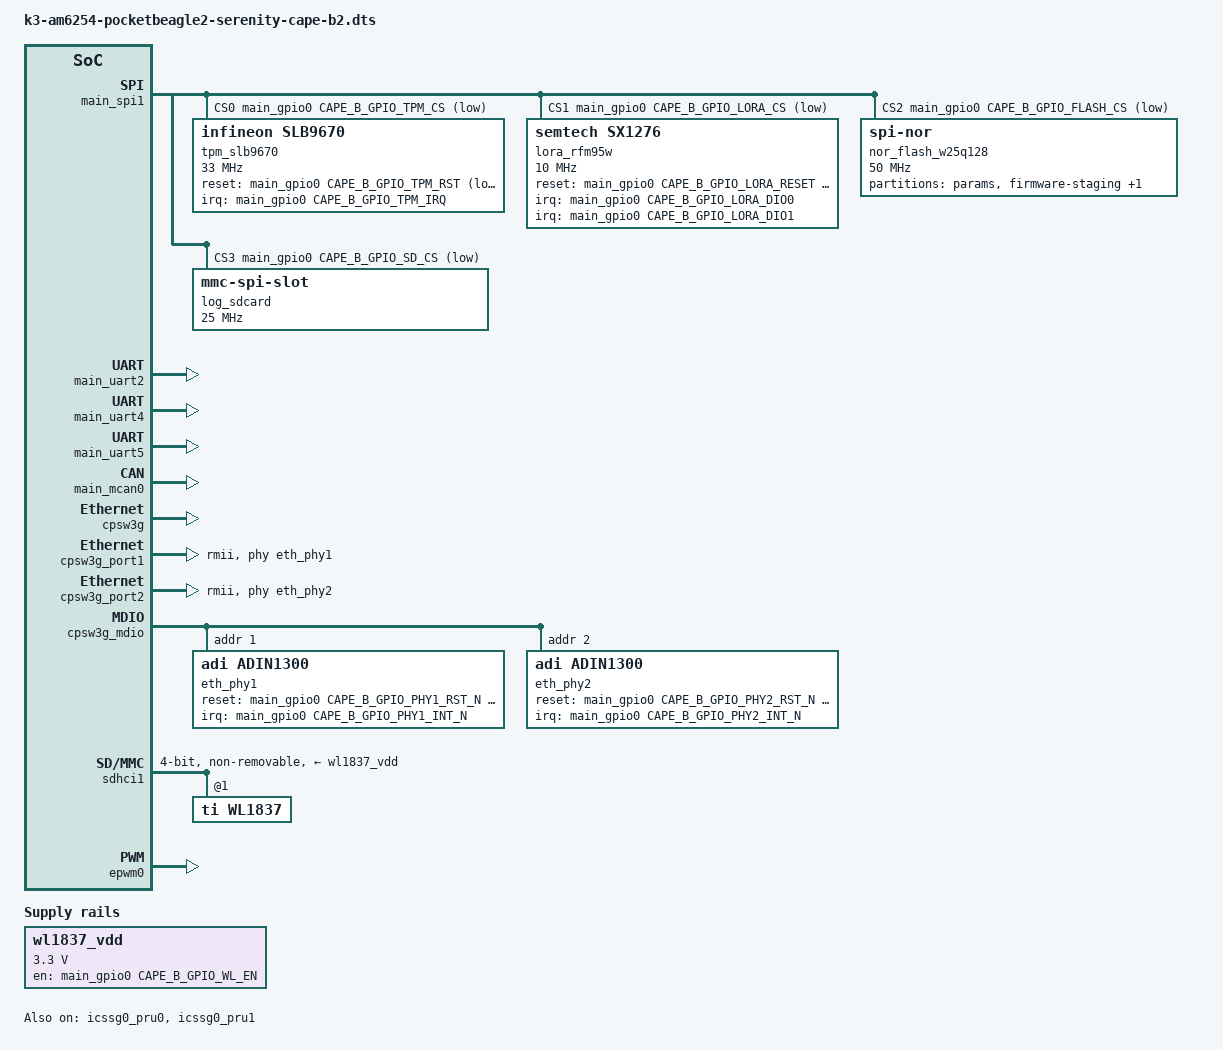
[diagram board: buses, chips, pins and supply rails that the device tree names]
// SPDX-License-Identifier: CC-BY-4.0
/*
 * k3-am6254-pocketbeagle2-serenity-cape-b2.dts
 * Device tree overlay — Serenity UAV Cape-B-2 (EMI-hardened Comms, Logging & Payload)
 *
 * Author:  Steve Griffing, PE(CSE), CISSP-ISSEP, CPP
 * License: CC BY 4.0 — creativecommons.org/licenses/by/4.0
 *
 * Target:
 *   Board  : PocketBeagle 2 Industrial (DigiKey 2820-100003007-ND)
 *   SoC    : TI AM6254 (quad Cortex-A53 @ 1.4 GHz, dual PRU-ICSS)
 *   OS     : BeagleBone Debian Trixie (Linux ≥ 6.1, dtc 1.7.x)
 *   Cape   : Cape-B-2 — EMI-hardened comms + logging + payload cape
 *   Rev    : M-2
 *
 * Build:
 *   dtc -@ -I dts -O dtb \
 *       -o k3-am6254-pocketbeagle2-serenity-cape-b2.dtbo \
 *       k3-am6254-pocketbeagle2-serenity-cape-b2.dts
 *
 * Install:
 *   sudo cp *.dtbo /boot/firmware/overlays/
 *   Add "fdtoverlays /overlays/k3-am6254-pocketbeagle2-serenity-cape-b2.dtbo"
 *   to /boot/firmware/extlinux/extlinux.conf
 *
 * ═══════════════════════════════════════════════════════════════════════════
 * PAD OFFSET VERIFICATION NOTICE
 * ═══════════════════════════════════════════════════════════════════════════
 * AM62X_IOPAD offsets must be cross-checked against BOTH:
 *   (1) TI AM6254 Technical Reference Manual, SPRUJ40, Table 7-1
 *       "MAIN Domain Pad Control Registers"
 *   (2) PocketBeagle 2 Industrial schematic — BeagleBoard.org hardware repo
 *       (maps AM6254 balls to P1/P2 header pins)
 * Offsets tagged [CONFIRMED] are from k3-am625-sk.dtsi, Linux 6.x kernel.
 * Offsets tagged [ESTIMATE] follow the AM62x pad-table pattern and must be
 * verified before committing to PCB fab or first-flight operations.
 * GPIO line numbers (main_gpio0 / main_gpio1) are logical and must be
 * verified against the PocketBeagle 2 expansion header pin map.
 * ═══════════════════════════════════════════════════════════════════════════
 *
 * EMI-hardened -2 variant: ISOW1044BDFMR CAN FD; ADM2795EBRWZ RS-485; ADIN1300BCPZ PHY
 *
 * Cape-B-2 peripheral map:
 *   SPI1      — SLB9670 TPM 2.0, RFM95W LoRa 915 MHz, W25Q128JV NOR flash,
 *               microSD (SPI mode, logging-only non-executable card)
 *   UART2     — RFD900x SiK 915 MHz (hardware CTS/RTS flow control)
 *   UART4     — ADM2795EBRWZ RS-485 half-duplex (DE / RE# GPIOs)
 *   UART5     — XCVR-49MHZ-1 49 MHz AX.25 (SW1-1) OR SBUS RC input (SW1-2)
 *               J_XCVR JST-GH 6P shared connector; SW1 2-position DIP selects mode
 *   MCAN0     — CAN FD 1/8 Mbps via ISOW1044BDFMR (isolated, STB# GPIO)
 *   CPSW3G    — 2× ADIN1300BCPZ 100BASE-TX PHY (isolated via ISO7642FDWRR + Würth 749010012A)
 *   SDIO      — WL1837MOD 5 GHz 802.11ac/b/g/n + BT5 (4-bit MMC)
 *   EHRPWM0   — Cargo servo / gimbal axis (2 channels)
 *   PRU-ICSS0/PRU0 — MIL-STD-1553B Manchester II codec (1 Mbps)
 *   PRU-ICSS0/PRU1 — Cargo servo PWM ch 2-3 + XCVR TDDS timing
 *
 * External comms links on this node:
 *   Link A: AX.25 49 MHz XCVR or SBUS RC input (XCVR-49MHZ-1/J_XCVR, UART5, SW1 DIP)
 *   Link B: SiK MAVLink 915 MHz  (RFD900x, UART2, CTS/RTS)
 *   Link C: LoRa 915 MHz (OOB)   (RFM95W, SPI1, DIO0-DIO3 IRQs)
 *   Link D: 5 GHz 802.11ac       (WL1837MOD, SDIO)
 *
 * All transmitted frames carry a TPM-bound SHA-256 HMAC (SLB9670, SPI1).
 * The ATF16V8BQL CPLD provides hardware-enforced write-protect to the
 * logging microSD and latching logic for latch sensors.
 *
 * References:
 *   [1]  TI AM6254 TRM, SPRUJ40 — pad table, PRU-ICSS, CPSW3G, MCAN
 *   [2]  PocketBeagle 2 Industrial schematic, BeagleBoard.org hardware repo
 *   [3]  AX.25 Link Access Protocol for Amateur Packet Radio v2.2, TAPR/ARRL, July 1998
 *        [REF-PROTO-001 §6.2 I Frame, §6.3 S Frames] — AX.25 framing on 49 MHz link
 *   [4]  47 CFR Part 15 §15.235 — Operation Within the Band 49.82–49.90 MHz
 *        [REF-FCC-003] — field strength ≤ 10,000 µV/m at 3 m (not Part 95 RCRS,
 *        which does not cover 49 MHz — see REFERENCES.md REF-FCC-003, REF-FCC-004)
 *   [5]  47 CFR §15.247, Operation in 902-928 MHz ISM band (LoRa 915 MHz, unlicensed)
 *        [REF-FCC-001 §15.247(a)(1), §15.247(b)(3)(i)] — 30 dBm EIRP limit
 *   [6]  Si5351A/B/C-B Datasheet, Skyworks, Rev 1.4
 *   [7]  Infineon SLB9670 TPM 2.0 Datasheet
 *   [8]  WL1837MOD (TI WL1837) Integration Guide
 *   [9]  MIL-STD-1553B with Notice 2, DoD Interface Standard, 30 Sep 1996
 *        [REF-MIL-001 §4.1 bus characteristics, §4.3 word formats, §4.6 coupling,
 *        Table IV response time 4-12 µs] — 1 Mbps, 78 Ω, Manchester II encoding
 *   [10] ISOW1044BDFMR datasheet, TI SLLSEP5 — isolated CAN FD transceiver
 *        [REF-IEC-001 Cl.5.5.2] / [REF-VDE-001 Cl.4.3, Cl.5.3] — 5 kV RI certification
 *   [11] ADM2795EBRWZ datasheet, Analog Devices — isolated RS-485 transceiver
 *        [REF-IEC-001 Cl.5.5.2] / [REF-VDE-001 Cl.4.3, Cl.5.3] — 5 kV RI certification
 *   [12] ADIN1300BCPZ datasheet, Analog Devices Rev B — 100/1000BASE-T PHY
 *        [REF-IEEE-001 Cl.22 RMII, Cl.24 100BASE-TX] — Ethernet PHY interface
 *   [13] ISO7642FDWRR datasheet, TI SLLSEP2 — 6-channel digital isolator
 *        [REF-IEC-001 Cl.5.5.2] — isolation component in Ethernet barrier
 *   [14] Würth Elektronik 749010012A datasheet — Ethernet transformer 1500 V
 *   [15] PRTR5V0U2X datasheet, Nexperia — TVS for ESD/transient protection
 */

/dts-v1/;
/plugin/;

#include <dt-bindings/gpio/gpio.h>
#include <dt-bindings/interrupt-controller/irq.h>
#include <dt-bindings/pinctrl/k3.h>

/* ───────────────────────────────────────────────────────────────────────────
 * GPIO line assignments on main_gpio0 — VERIFY AGAINST PB2 SCHEMATIC
 * All offsets relative to AM6254 GPIO bank 0 as exposed on P1/P2 headers.
 * Identical to Cape-B-1 GPIO assignments; the EMI-hardened transceivers
 * (ISOW1044BDFMR, ADM2795EBRWZ, ADIN1300BCPZ) present the same electrical
 * interface to the SoC as the v1 components.
 * ─────────────────────────────────────────────────────────────────────────*/

/* SPI1 chip-selects (GPIO-driven; SPI1 nCS lines not used in hardware). */
#define CAPE_B_GPIO_TPM_CS          10  /* SPI1 CS — SLB9670 TPM 2.0        [ESTIMATE] */
#define CAPE_B_GPIO_LORA_CS         11  /* SPI1 CS — RFM95W LoRa            [ESTIMATE] */
#define CAPE_B_GPIO_FLASH_CS        12  /* SPI1 CS — W25Q128JV NOR flash     [ESTIMATE] */
#define CAPE_B_GPIO_SD_CS           13  /* SPI1 CS — logging microSD         [ESTIMATE] */

/* SLB9670 TPM 2.0 control lines. */
#define CAPE_B_GPIO_TPM_IRQ         14  /* SLB9670 interrupt (active-low)    [ESTIMATE] */
#define CAPE_B_GPIO_TPM_RST         15  /* SLB9670 reset (active-low)        [ESTIMATE] */

/* RFM95W LoRa DIO interrupt lines (DIO0 = TX done / RX done). */
#define CAPE_B_GPIO_LORA_DIO0       16  /* RFM95W DIO0 — TX/RX done         [ESTIMATE] */
#define CAPE_B_GPIO_LORA_DIO1       17  /* RFM95W DIO1 — RX timeout / FHSS  [ESTIMATE] */
#define CAPE_B_GPIO_LORA_DIO2       18  /* RFM95W DIO2 — FHSS change        [ESTIMATE] */
#define CAPE_B_GPIO_LORA_DIO3       19  /* RFM95W DIO3 — CAD done           [ESTIMATE] */
#define CAPE_B_GPIO_LORA_RESET      20  /* RFM95W RESET (active-low)         [ESTIMATE] */

/* XCVR-49MHZ-1 49 MHz control lines. */
#define CAPE_B_GPIO_PTT_N           21  /* PTT_N — TX key (active-low)       [ESTIMATE] */
#define CAPE_B_GPIO_TDDS_SYNC       22  /* Si5351A DDS freq sync strobe      [ESTIMATE] */

/* ADM2795EBRWZ RS-485 direction control. */
#define CAPE_B_GPIO_RS485_DE        23  /* Driver enable (active-high)       [ESTIMATE] */
#define CAPE_B_GPIO_RS485_RE_N      24  /* Receiver enable# (active-low)     [ESTIMATE] */

/* ISOW1044BDFMR CAN FD transceiver. */
#define CAPE_B_GPIO_CAN_STB_N       25  /* Standby# (active-low, normal=low) [ESTIMATE] */

/* ADIN1300BCPZ RMII PHY reset and interrupt lines. */
#define CAPE_B_GPIO_PHY1_RST_N      26  /* ADIN1300BCPZ #1 reset (active-low)[ESTIMATE] */
#define CAPE_B_GPIO_PHY1_INT_N      27  /* ADIN1300BCPZ #1 interrupt         [ESTIMATE] */
#define CAPE_B_GPIO_PHY2_RST_N      28  /* ADIN1300BCPZ #2 reset (active-low)[ESTIMATE] */
#define CAPE_B_GPIO_PHY2_INT_N      29  /* ADIN1300BCPZ #2 interrupt         [ESTIMATE] */

/* MIL-STD-1553B DS26LV31/DS26LV32 output-enable lines. */
#define CAPE_B_GPIO_1553_OE1_N      30  /* DS26LV31 output enable 1# (TX)    [ESTIMATE] */
#define CAPE_B_GPIO_1553_OE2_N      31  /* DS26LV32 output enable 2# (RX)    [ESTIMATE] */

/* WL1837MOD WiFi enable. */
#define CAPE_B_GPIO_WL_EN           32  /* WL1837MOD WL_EN (active-high)     [ESTIMATE] */

/* DRV8833 dual H-bridge (cargo mechanism / latch actuator). */
#define CAPE_B_GPIO_DRV_AIN1        33  /* DRV8833 AIN1                      [ESTIMATE] */
#define CAPE_B_GPIO_DRV_AIN2        34  /* DRV8833 AIN2                      [ESTIMATE] */
#define CAPE_B_GPIO_DRV_BIN1        35  /* DRV8833 BIN1                      [ESTIMATE] */
#define CAPE_B_GPIO_DRV_BIN2        36  /* DRV8833 BIN2                      [ESTIMATE] */
#define CAPE_B_GPIO_DRV_STBY        37  /* DRV8833 STBY (active-high)        [ESTIMATE] */
#define CAPE_B_GPIO_DRV_FAULT_N     38  /* DRV8833 /FAULT (active-low)       [ESTIMATE] */

/* HX711 24-bit ADC (cargo load cell). */
#define CAPE_B_GPIO_HX711_DOUT      39  /* HX711 DOUT (serial data out)      [ESTIMATE] */
#define CAPE_B_GPIO_HX711_SCK       40  /* HX711 PD_SCK (clock / power-down) [ESTIMATE] */

/* ATF16V8BQL CPLD (write-protect logic + latch control). */
#define CAPE_B_GPIO_CPLD_I1         41  /* CPLD input 1                      [ESTIMATE] */
#define CAPE_B_GPIO_CPLD_I2         42  /* CPLD input 2                      [ESTIMATE] */
#define CAPE_B_GPIO_CPLD_I3         43  /* CPLD input 3                      [ESTIMATE] */
#define CAPE_B_GPIO_CPLD_I4         44  /* CPLD input 4                      [ESTIMATE] */
#define CAPE_B_GPIO_CPLD_I5         45  /* CPLD input 5                      [ESTIMATE] */
#define CAPE_B_GPIO_CPLD_I6         46  /* CPLD input 6                      [ESTIMATE] */
#define CAPE_B_GPIO_CPLD_O1         47  /* CPLD output 1 (read-only from SoC)[ESTIMATE] */
#define CAPE_B_GPIO_CPLD_O2         48  /* CPLD output 2 (read-only from SoC)[ESTIMATE] */
#define CAPE_B_GPIO_CPLD_O3         49  /* CPLD output 3                     [ESTIMATE] */
#define CAPE_B_GPIO_CPLD_O4         50  /* CPLD output 4                     [ESTIMATE] */
#define CAPE_B_GPIO_CPLD_OE_N       51  /* CPLD /OE (output enable)          [ESTIMATE] */

/* Mechanical latch / payload bay position sensors. */
#define CAPE_B_GPIO_LATCH_STATUS1   52  /* Latch 1 closed sensor             [ESTIMATE] */
#define CAPE_B_GPIO_LATCH_STATUS2   53  /* Latch 2 closed sensor             [ESTIMATE] */

/* Cape-B-2: No additional GPIO defines vs v1.
 * ISOW1044BDFMR CAN FD: same STB# GPIO as ATA6561.
 * ADM2795EBRWZ RS-485: same DE/RE# GPIOs as MAX3485E.
 * ADIN1300BCPZ PHY: same RST#/INT# GPIOs as DP83825I.
 * PRTR5V0U2X TVS on XCVR_RX_RAW: passive, no GPIO needed.                  */

/* ───────────────────────────────────────────────────────────────────────────
 * Section 1 — Pin control configurations
 * ─────────────────────────────────────────────────────────────────────────*/
&main_pmx0 {

    /* SPI1: SLB9670 TPM, RFM95W LoRa, W25Q128JV NOR flash, logging microSD.
     * All four chip-selects are GPIO-controlled for independent sequencing.
     * Only the four-wire bus (CLK, D0/MOSI, D1/MISO) pins appear here.    */
    cape_b_spi1_pins: cape-b-spi1-pins {
        pinctrl-single,pins = <
            /* [ESTIMATE — SPI1 pad area, verify in SPRUJ40 Table 7-1] */
            AM62X_IOPAD(0x01e0, PIN_INPUT,  0) /* SPI1_CLK                   */
            AM62X_IOPAD(0x01e4, PIN_OUTPUT, 0) /* SPI1_D0  (MOSI)            */
            AM62X_IOPAD(0x01e8, PIN_INPUT,  0) /* SPI1_D1  (MISO)            */
        >;
    };

    /* UART2: RFD900x SiK 915 MHz MAVLink telemetry.
     * Full hardware flow control (CTS/RTS) is required by RFD900x at
     * 57600-921600 baud; both flow-control pins must be muxed.             */
    cape_b_uart2_pins: cape-b-uart2-pins {
        pinctrl-single,pins = <
            /* [ESTIMATE — UART2 pad area, mux mode 4 or 5] */
            AM62X_IOPAD(0x0060, PIN_INPUT,  4) /* UART2_RXD                  */
            AM62X_IOPAD(0x0064, PIN_OUTPUT, 4) /* UART2_TXD                  */
            AM62X_IOPAD(0x0068, PIN_INPUT,  4) /* UART2_CTSn                 */
            AM62X_IOPAD(0x006c, PIN_OUTPUT, 4) /* UART2_RTSn                 */
        >;
    };

    /* UART4: RS-485 half-duplex via ADM2795EBRWZ (Cape-B-2 EMI-hardened).
     * Direction toggled by DE / RE# GPIOs or TIOCSRS485 kernel support.   */
    cape_b_uart4_pins: cape-b-uart4-pins {
        pinctrl-single,pins = <
            /* [ESTIMATE — GPMC0_AD area, mux4 — same offsets as Cape-A] */
            AM62X_IOPAD(0x0058, PIN_INPUT,  4) /* UART4_RXD                  */
            AM62X_IOPAD(0x005c, PIN_OUTPUT, 4) /* UART4_TXD                  */
        >;
    };

    /* UART5: J_XCVR shared connector (XCVR-49MHZ-1 AX.25 or SBUS RC input).
     * SW1 DIP selects signal path.  57600 8N1 (XCVR) or 100000 8E2 (SBUS).
     * Cape-B-2 adds D_XCVR_TVS (PRTR5V0U2X) on XCVR_RX_RAW for ESD
     * protection from the 49 MHz antenna feed (passive, no DT node needed). */
    cape_b_uart5_pins: cape-b-uart5-pins {
        pinctrl-single,pins = <
            /* [ESTIMATE — GPMC0_AD area, mux4] */
            AM62X_IOPAD(0x0070, PIN_INPUT,  4) /* UART5_RXD                  */
            AM62X_IOPAD(0x0074, PIN_OUTPUT, 4) /* UART5_TXD                  */
        >;
    };

    /* MCAN0: CAN FD via ISOW1044BDFMR isolated transceiver (Cape-B-2).    */
    cape_b_mcan0_pins: cape-b-mcan0-pins {
        pinctrl-single,pins = <
            /* [CONFIRMED — k3-am625-sk.dtsi] */
            AM62X_IOPAD(0x01d8, PIN_OUTPUT, 0) /* (C15) MCAN0_TX             */
            AM62X_IOPAD(0x01dc, PIN_INPUT,  0) /* (E15) MCAN0_RX             */
        >;
    };

    /* CPSW3G MDIO: shared MDC/MDIO bus for both ADIN1300BCPZ PHYs.        */
    cape_b_mdio_pins: cape-b-mdio-pins {
        pinctrl-single,pins = <
            /* [ESTIMATE — dedicated MDIO pad area] */
            AM62X_IOPAD(0x0160, PIN_OUTPUT,       0) /* MDC                   */
            AM62X_IOPAD(0x0164, PIN_INPUT_PULLUP, 0) /* MDIO                  */
        >;
    };

    /* CPSW3G Port 1 — RMII (ADIN1300BCPZ #1, uplink ring segment).        */
    cape_b_rmii1_pins: cape-b-rmii1-pins {
        pinctrl-single,pins = <
            /* [ESTIMATE — RGMII1 pad area, mux4 for RMII] */
            AM62X_IOPAD(0x0120, PIN_INPUT,  4) /* RMII1_RXD0                 */
            AM62X_IOPAD(0x0124, PIN_INPUT,  4) /* RMII1_RXD1                 */
            AM62X_IOPAD(0x0128, PIN_INPUT,  4) /* RMII1_RX_ER                */
            AM62X_IOPAD(0x012c, PIN_INPUT,  4) /* RMII1_CRS_DV               */
            AM62X_IOPAD(0x0130, PIN_OUTPUT, 4) /* RMII1_TXD0                 */
            AM62X_IOPAD(0x0134, PIN_OUTPUT, 4) /* RMII1_TXD1                 */
            AM62X_IOPAD(0x0138, PIN_OUTPUT, 4) /* RMII1_TX_EN                */
            AM62X_IOPAD(0x013c, PIN_INPUT,  4) /* RMII1_REF_CLK (50 MHz in)  */
        >;
    };

    /* CPSW3G Port 2 — RMII (ADIN1300BCPZ #2, downlink ring segment).      */
    cape_b_rmii2_pins: cape-b-rmii2-pins {
        pinctrl-single,pins = <
            /* [ESTIMATE — RGMII2 pad area, mux4 for RMII] */
            AM62X_IOPAD(0x0148, PIN_INPUT,  4) /* RMII2_RXD0                 */
            AM62X_IOPAD(0x014c, PIN_INPUT,  4) /* RMII2_RXD1                 */
            AM62X_IOPAD(0x0150, PIN_INPUT,  4) /* RMII2_RX_ER                */
            AM62X_IOPAD(0x0154, PIN_INPUT,  4) /* RMII2_CRS_DV               */
            AM62X_IOPAD(0x0158, PIN_OUTPUT, 4) /* RMII2_TXD0                 */
            AM62X_IOPAD(0x015c, PIN_OUTPUT, 4) /* RMII2_TXD1                 */
            AM62X_IOPAD(0x0168, PIN_OUTPUT, 4) /* RMII2_TX_EN                */
            AM62X_IOPAD(0x016c, PIN_INPUT,  4) /* RMII2_REF_CLK              */
        >;
    };

    /* SDIO: WL1837MOD 5 GHz 802.11ac + BT5 in 4-bit MMC mode.
     * WL1837MOD requires 50 MHz SDIO clock and 4 data lines.              */
    cape_b_sdio_pins: cape-b-sdio-pins {
        pinctrl-single,pins = <
            /* [ESTIMATE — MMC1 pad area] */
            AM62X_IOPAD(0x0220, PIN_INPUT_PULLUP, 0) /* MMC1_CLK              */
            AM62X_IOPAD(0x0224, PIN_INPUT_PULLUP, 0) /* MMC1_CMD              */
            AM62X_IOPAD(0x0228, PIN_INPUT_PULLUP, 0) /* MMC1_DAT0             */
            AM62X_IOPAD(0x022c, PIN_INPUT_PULLUP, 0) /* MMC1_DAT1             */
            AM62X_IOPAD(0x0230, PIN_INPUT_PULLUP, 0) /* MMC1_DAT2             */
            AM62X_IOPAD(0x0234, PIN_INPUT_PULLUP, 0) /* MMC1_DAT3             */
        >;
    };

    /* EHRPWM0: cargo servo / gimbal axis channels 0 and 1.               */
    cape_b_ehrpwm0_pins: cape-b-ehrpwm0-pins {
        pinctrl-single,pins = <
            /* [ESTIMATE] */
            AM62X_IOPAD(0x01a0, PIN_OUTPUT, 6) /* EHRPWM0_A (CARGO_SERVO0)   */
            AM62X_IOPAD(0x01a4, PIN_OUTPUT, 6) /* EHRPWM0_B (CARGO_SERVO1)   */
        >;
    };

    /* PRU-ICSS0 PRU0: MIL-STD-1553B Manchester II codec pins.
     * DS26LV31 TX driven by GPO0/GPO1; DS26LV32 RX read on GPI2/GPI3.   */
    cape_b_pru0_1553_pins: cape-b-pru0-1553-pins {
        pinctrl-single,pins = <
            /* [ESTIMATE — PRG0 GPIO pad area] */
            AM62X_IOPAD(0x00d0, PIN_OUTPUT, 5) /* PRG0_PRU0_GPO0 → 1553_TX_P */
            AM62X_IOPAD(0x00d4, PIN_OUTPUT, 5) /* PRG0_PRU0_GPO1 → 1553_TX_N */
            AM62X_IOPAD(0x00d8, PIN_INPUT,  5) /* PRG0_PRU0_GPI2 ← 1553_RX_P */
            AM62X_IOPAD(0x00dc, PIN_INPUT,  5) /* PRG0_PRU0_GPI3 ← 1553_RX_N */
        >;
    };

    /* PRU-ICSS0 PRU1: cargo servo PWM ch 2-3 + XCVR TDDS_SYNC output.   */
    cape_b_pru1_cargo_pins: cape-b-pru1-cargo-pins {
        pinctrl-single,pins = <
            /* [ESTIMATE] */
            AM62X_IOPAD(0x00e0, PIN_OUTPUT, 5) /* PRG0_PRU1_GPO0 → SERVO2    */
            AM62X_IOPAD(0x00e4, PIN_OUTPUT, 5) /* PRG0_PRU1_GPO1 → SERVO3    */
            AM62X_IOPAD(0x00e8, PIN_OUTPUT, 5) /* PRG0_PRU1_GPO2 → TDDS_SYNC */
        >;
    };
};

/* ───────────────────────────────────────────────────────────────────────────
 * Section 2 — SPI1: TPM 2.0, LoRa 915 MHz, NOR flash, logging microSD
 *
 * All four devices share the SPI1 bus at 3.3 V LVTTL.  Individual chip-
 * selects are GPIO-driven to allow per-device power sequencing and to avoid
 * glitching inactive devices during bus transactions.
 * ─────────────────────────────────────────────────────────────────────────*/
&main_spi1 {
    status = "okay";
    pinctrl-names = "default";
    pinctrl-0 = <&cape_b_spi1_pins>;
    cs-gpios = <&main_gpio0 CAPE_B_GPIO_TPM_CS   GPIO_ACTIVE_LOW>,
               <&main_gpio0 CAPE_B_GPIO_LORA_CS  GPIO_ACTIVE_LOW>,
               <&main_gpio0 CAPE_B_GPIO_FLASH_CS GPIO_ACTIVE_LOW>,
               <&main_gpio0 CAPE_B_GPIO_SD_CS    GPIO_ACTIVE_LOW>;
    #address-cells = <1>;
    #size-cells = <0>;

    /* SLB9670 TPM 2.0 — Infineon, SPI mode 0, 33 MHz max.
     * Provides TPM-bound SHA-256 HMAC keys for all outbound radio frames.
     * PCR measurements seeded from U-Boot measured-boot chain.
     * Reference: Infineon SLB9670 datasheet, TPM 2.0 Part 3 commands.    */
    tpm_slb9670: tpm@0 {
        compatible = "infineon,slb9670";
        reg = <0>;                           /* CS index 0 (TPM_CS GPIO)    */
        spi-max-frequency = <33000000>;
        interrupt-parent = <&main_gpio0>;
        interrupts = <CAPE_B_GPIO_TPM_IRQ IRQ_TYPE_LEVEL_LOW>;
        reset-gpios = <&main_gpio0 CAPE_B_GPIO_TPM_RST GPIO_ACTIVE_LOW>;
    };

    /* RFM95W LoRa 915 MHz — Semtech SX1276 core, SPI mode 0, 10 MHz max.
     * Operates in 47 CFR Part 15 Subpart C unlicensed band (902-928 MHz).
     * DIO0-DIO3 provide interrupt-driven TX-done, RX-done, CCA events.
     * Used for out-of-band telemetry and command backup link.             */
    lora_rfm95w: lora@1 {
        compatible = "semtech,sx1276";
        reg = <1>;                           /* CS index 1 (LORA_CS GPIO)   */
        spi-max-frequency = <10000000>;
        reset-gpios = <&main_gpio0 CAPE_B_GPIO_LORA_RESET GPIO_ACTIVE_LOW>;
        /*
         * DIO0 = TX done / RX done (primary IRQ).
         * DIO1 = RX timeout / FHSS channel change.
         * DIO2 = FHSS channel change.
         * DIO3 = CAD (channel activity detection) done.
         * All four interrupts wired; driver selects active ones per mode.
         */
        interrupts-extended =
            <&main_gpio0 CAPE_B_GPIO_LORA_DIO0 IRQ_TYPE_EDGE_RISING>,
            <&main_gpio0 CAPE_B_GPIO_LORA_DIO1 IRQ_TYPE_EDGE_RISING>,
            <&main_gpio0 CAPE_B_GPIO_LORA_DIO2 IRQ_TYPE_EDGE_RISING>,
            <&main_gpio0 CAPE_B_GPIO_LORA_DIO3 IRQ_TYPE_EDGE_RISING>;
        interrupt-names = "dio0", "dio1", "dio2", "dio3";
    };

    /* W25Q128JV NOR Flash — Winbond, 128 Mbit (16 MiB), SPI mode 0.
     * Used for persistent parameter storage and firmware staging.
     * Mapped as MTD partition; write-protected by ATF16V8BQL CPLD WP line.
     * Reference: W25Q128JV datasheet, Winbond, Rev L.                    */
    nor_flash_w25q128: flash@2 {
        compatible = "jedec,spi-nor";
        reg = <2>;                           /* CS index 2 (FLASH_CS GPIO)  */
        spi-max-frequency = <50000000>;
        /* 104 MHz clock supported by W25Q128JV but limited to 50 MHz
         * for noise margin on the Cape-B-2 flex harness.                 */

        partitions {
            compatible = "fixed-partitions";
            #address-cells = <1>;
            #size-cells = <1>;

            /* Bootloader parameters backup: 128 KiB at start of flash.   */
            partition@0 {
                label = "params";
                reg = <0x000000 0x020000>;
            };

            /* Firmware staging area: 8 MiB.                              */
            partition@20000 {
                label = "firmware-staging";
                reg = <0x020000 0x800000>;
            };

            /* Remaining space: key material backup (encrypted by TPM).   */
            partition@820000 {
                label = "key-backup";
                reg = <0x820000 0x7e0000>;
            };
        };
    };

    /* Logging microSD in SPI mode.
     * Hardware write-protect enforced by ATF16V8BQL CPLD — the CPLD
     * asserts the microSD /WP line and prevents the SoC from de-asserting
     * it without the correct CPLD input sequence (anti-tamper logging).
     * Formatted ext4; mounted noexec,nosuid,nodev.                        */
    log_sdcard: spi-mmc@3 {
        compatible = "mmc-spi-slot";
        reg = <3>;                           /* CS index 3 (SD_CS GPIO)     */
        spi-max-frequency = <25000000>;
        voltage-ranges = <3300 3300>;
        /* gpios and other properties set by kernel mmc-spi-slot driver.  */
    };
};

/* ───────────────────────────────────────────────────────────────────────────
 * Section 3 — UARTs
 * ─────────────────────────────────────────────────────────────────────────*/

/* UART2: RFD900x SiK 915 MHz MAVLink telemetry.
 * Hardware flow control (CTS/RTS) is required to prevent packet loss at
 * high data rates (115200-921600 baud).  The serenity-cn daemon opens this
 * port with CRTSCTS set; RFD900x drives RTS low when ready to receive.    */
&main_uart2 {
    status = "okay";
    pinctrl-names = "default";
    pinctrl-0 = <&cape_b_uart2_pins>;
    /* uart-has-rtscts informs the driver that hardware flow control pins
     * are connected.  Flow control is enabled by the daemon at open time. */
    uart-has-rtscts;
};

/* UART4: RS-485 half-duplex via ADM2795EBRWZ (Cape-B-2 EMI-hardened; same
 * electrical interface as MAX3485E on Cape-B-1).  IEC 62368-1 isolation.
 * Direction is toggled by DE and RE# GPIOs (or TIOCSRS485 if supported).  */
&main_uart4 {
    status = "okay";
    pinctrl-names = "default";
    pinctrl-0 = <&cape_b_uart4_pins>;
    linux,rs485-enabled-at-boot-time;
    rs485-rts-active-high;                   /* DE asserted high = TX       */
    rs485-rx-during-tx;
};

/* UART5: XCVR-49MHZ-1 49 MHz AX.25 link (SW1-1) OR SBUS RC input (SW1-2).
 *
 * SW1 is a 2-position DIP switch on Cape-B-2 that shares the J_XCVR JST-GH 6P
 * connector between the external 49 MHz transceiver and an RC SBUS receiver.
 * The switch routes J_XCVR pin 4 (XCVR_RX_RAW) to UART5_RX via one of two paths:
 *
 *   SW1-1 (XCVR mode): XCVR_RX_RAW → 100 Ω R_XCVR_RX → UART5_RX (direct)
 *   SW1-2 (SBUS mode): XCVR_RX_RAW → 74LVC1G14 U_SBUS_B → 100 Ω R_SBUS_RX → UART5_RX
 *
 * Cape-B-2 adds D_XCVR_TVS (PRTR5V0U2X) on XCVR_RX_RAW for ESD/transient
 * protection from the 49 MHz antenna feed (passive, no DT node required).
 *
 * In XCVR mode: 57600 baud 8N1; PTT_N (CAPE_B_GPIO_PTT_N) and TDDS_SYNC
 *   (CAPE_B_GPIO_TDDS_SYNC) are active.  AX.25 / KISS framing used.
 *   PTT sequencing: assert PTT_N ≥ 7 ms before first TX bit per 47 CFR 95.639.
 *
 * In SBUS mode: 100000 baud 8E2 (even parity, 2 stop bits); PTT_N and
 *   TDDS_SYNC are unused.  The serenity-cn daemon decodes 16-channel SBUS
 *   frames and forwards RC channel data over CAN FD to FC nodes.
 *
 * The DIP switch position is NOT sensed by any SoC GPIO — mode is selected
 * via the serenity-cn command-line argument (-m xcvr | -m sbus).
 *
 * Reference: serenity/firmware/cn/src/xcvr_kiss.c, xcvr_kiss_transmit();
 *            serenity/firmware/common/src/sbus_input.c (SBUS frame decoder).
 * FCC: 47 CFR 95.639 (PTT timing), 47 CFR 95.629 (channel accuracy).       */
&main_uart5 {
    status = "okay";
    pinctrl-names = "default";
    pinctrl-0 = <&cape_b_uart5_pins>;
};

/* ───────────────────────────────────────────────────────────────────────────
 * Section 4 — CAN FD (MCAN0 + ISOW1044BDFMR isolated transceiver)
 *
 * Cape-B-2 replaces ATA6561 with ISOW1044BDFMR (EMI-hardened, 5 kV isolated).
 * Electrical interface to MCAN0 is identical to ATA6561.
 * STB# GPIO (CAPE_B_GPIO_CAN_STB_N) function unchanged.
 * Same physical CAN FD bus as Cape-A; each node bridges CAN FD ↔ 1553 ↔
 * Ethernet to provide the redundant inter-node bus topology required by
 * CLAUDE.md §"Onboard Communications".
 * ─────────────────────────────────────────────────────────────────────────*/
&main_mcan0 {
    status = "okay";
    pinctrl-names = "default";
    pinctrl-0 = <&cape_b_mcan0_pins>;
    /* ISOW1044BDFMR STB# is driven low (normal mode) by serenity-cn at startup.
     * Standby mode (STB# high) is entered on watchdog timeout.           */

    can-transceiver {
        max-bitrate = <8000000>;             /* 8 Mbps FD data rate max     */
    };
};

/* ───────────────────────────────────────────────────────────────────────────
 * Section 5 — Ethernet: CPSW3G + 2× ADIN1300BCPZ RMII PHY (Cape-B-2)
 *
 * Cape-B-2 replaces DP83825I with ADIN1300BCPZ (Analog Devices, 1000BASE-T).
 * The ADIN1300 is connected through:
 *   - 2× ISO7642FDWRR 6-channel digital isolators (3+3 config, 5 kV,
 *     Texas Instruments) on the RMII data/ctrl signals (6 lines each)
 *   - Würth Elektronik 749010012A Ethernet transformer (1500 V isolation)
 *   - JST-GH 4P connector (2-pair MDI — no RJ45 per design constraint)
 *
 * The isolators are transparent to the SoC RMII interface; no pinmux or
 * CPSW3G changes are required vs Cape-B-1.
 * 8-node RSTP ring: CN1→FC1→CN2→FC2→CN3→FC3→CN4→FC4→(back to CN1).
 * Each CN node connects two adjacent ring segments via its two PHYs.
 * ─────────────────────────────────────────────────────────────────────────*/
&cpsw3g {
    status = "okay";
};

&cpsw3g_port1 {
    status = "okay";
    pinctrl-names = "default";
    pinctrl-0 = <&cape_b_rmii1_pins>;
    phy-handle = <&eth_phy1>;
    phy-mode = "rmii";
    ti,mac-only;
};

&cpsw3g_port2 {
    status = "okay";
    pinctrl-names = "default";
    pinctrl-0 = <&cape_b_rmii2_pins>;
    phy-handle = <&eth_phy2>;
    phy-mode = "rmii";
    ti,mac-only;
};

&cpsw3g_mdio {
    status = "okay";
    pinctrl-names = "default";
    pinctrl-0 = <&cape_b_mdio_pins>;
    clock-frequency = <1000000>;
    #address-cells = <1>;
    #size-cells = <0>;

    /* ADIN1300BCPZ RMII PHY #1 — Analog Devices, 1000BASE-T, MDIO addr 1.
     * Replaces DP83825I #1 (Cape-B-1).  MDIO strap: PHYAD0=1 → addr 1.
     * Reset and interrupt GPIO lines same as Cape-B-1 PHY #1.
     * Isolated side of ISO7642FDWRR; reset propagates through isolator.
     * ADIN1300 reset duration: ≥ 10 ms assert, ≥ 5 ms deassert.
     * Reference: ADIN1300 datasheet, ADI, Rev B, Table 4.                  */
    eth_phy1: ethernet-phy@1 {
        compatible = "adi,adin1300";
        reg = <1>;
        reset-gpios = <&main_gpio0 CAPE_B_GPIO_PHY1_RST_N GPIO_ACTIVE_LOW>;
        reset-assert-us   = <10000>;         /* ADIN1300: ≥ 10 ms assert    */
        reset-deassert-us = <5000>;          /* ADIN1300: ≥ 5 ms deassert   */
        interrupt-parent = <&main_gpio0>;
        interrupts = <CAPE_B_GPIO_PHY1_INT_N IRQ_TYPE_EDGE_FALLING>;
        /*
         * ADIN1300 RMII mode: strap RMII_SEL=1 on Cape-B-2 PCB.
         * The ref clock is provided by the ADIN1300 (master mode, 50 MHz).
         */
        adi,phy-output-clock = "125mhz-free-running";
    };

    /* ADIN1300BCPZ RMII PHY #2 — MDIO addr 2.
     * Replaces DP83825I #2 (Cape-B-1).  PHYAD strap → addr 2.              */
    eth_phy2: ethernet-phy@2 {
        compatible = "adi,adin1300";
        reg = <2>;
        reset-gpios = <&main_gpio0 CAPE_B_GPIO_PHY2_RST_N GPIO_ACTIVE_LOW>;
        reset-assert-us   = <10000>;
        reset-deassert-us = <5000>;
        interrupt-parent = <&main_gpio0>;
        interrupts = <CAPE_B_GPIO_PHY2_INT_N IRQ_TYPE_EDGE_FALLING>;
        adi,phy-output-clock = "125mhz-free-running";
    };
};

/* ───────────────────────────────────────────────────────────────────────────
 * Section 6 — SDIO: WL1837MOD 802.11ac + Bluetooth 5.0
 *
 * The WL1837MOD (TI WiLink 8 family, SoC WL1837) provides:
 *   - 802.11a/b/g/n/ac 2.4/5 GHz dual-band WiFi (SDIO 4-bit, 50 MHz)
 *   - Bluetooth 5.0 + BLE (UART, separate node in DT)
 *
 * The module is connected to MMC1 (not the eMMC MMC0).
 * WL_EN GPIO is toggled by the regulator fixed-regulator node below.
 *
 * Reference: WL1837MOD Integration Guide, SWRU516, Texas Instruments.
 * ─────────────────────────────────────────────────────────────────────────*/

/* Fixed regulator stub — enables WL1837MOD power via WL_EN GPIO.
 * This node does not belong to a named kernel bus; it is placed here
 * as a soc-level overlay fragment.                                        */
/ {
    fragment@100 {
        target-path = "/";

        __overlay__ {
            wl1837_vdd: regulator-wl1837 {
                compatible = "regulator-fixed";
                regulator-name = "wl1837-vdd";
                regulator-min-microvolt = <3300000>;
                regulator-max-microvolt = <3300000>;
                gpio = <&main_gpio0 CAPE_B_GPIO_WL_EN GPIO_ACTIVE_HIGH>;
                enable-active-high;
                startup-delay-us = <70000>;  /* WL1837 POR stabilise time  */
            };
        };
    };
};

&sdhci1 {
    /* MMC1 = SDIO port for WL1837MOD (NOT the logging microSD).
     * The logging microSD is on SPI1 CS3 (spi-mmc-slot, Section 2).      */
    status = "okay";
    pinctrl-names = "default";
    pinctrl-0 = <&cape_b_sdio_pins>;
    vmmc-supply = <&wl1837_vdd>;
    bus-width = <4>;
    cap-power-off-card;
    keep-power-in-suspend;
    /* non-removable: module is soldered, not a slot.                      */
    non-removable;

    wl1837: wifi@1 {
        compatible = "ti,wl1837";
        reg = <1>;
    };
};

/* ───────────────────────────────────────────────────────────────────────────
 * Section 7 — EHRPWM0: cargo servo / gimbal axis (channels 0 and 1)
 *
 * 50 Hz standard RC servo timing (1000-2000 µs pulse, 20 ms period).
 * Channels 2-3 are produced by PRU1 (see Section 8).
 * ─────────────────────────────────────────────────────────────────────────*/
&epwm0 {
    status = "okay";
    pinctrl-names = "default";
    pinctrl-0 = <&cape_b_ehrpwm0_pins>;
};

/* ───────────────────────────────────────────────────────────────────────────
 * Section 8 — PRU-ICSS0: MIL-STD-1553B (PRU0) and cargo/TDDS (PRU1)
 *
 * PRU0 firmware: serenity-pru0-1553.out
 *   Same MIL-STD-1553B Manchester II codec as Cape-A PRU0.
 *   On CN nodes this PRU runs exclusively as Remote Terminal (RT).
 *   BC election happens on the CAN FD heartbeat bus; CN nodes do not
 *   participate in BC election.
 *   DS26LV31 TX: PRG0_PRU0_GPO0 (TX_P), GPO1 (TX_N).
 *   DS26LV32 RX: PRG0_PRU0_GPI2 (RX_P), GPI3 (RX_N).
 *   DS26LV31/32 OE#: main_gpio0 CAPE_B_GPIO_1553_OE1_N / OE2_N.
 *   Coupling transformer: PE-68515, 1:1.41, 78 Ω stub resistors.
 *
 * PRU1 firmware: serenity-pru1-cargo.out
 *   Two 50 Hz servo PWM channels (SERVO2, SERVO3) for cargo bay door
 *   actuators with 1 µs resolution.
 *   One TDDS_SYNC output line: generates a 10 ms strobe to the Si5351A
 *   DDS after each PTT_N assert, enabling accurate channel frequency
 *   lock before the first TX bit per 47 CFR 95.629(b)(1).
 *
 * Firmware binaries installed to /lib/firmware/serenity/ on the target.
 * ─────────────────────────────────────────────────────────────────────────*/
&icssg0_pru0 {
    status = "okay";
    pinctrl-names = "default";
    pinctrl-0 = <&cape_b_pru0_1553_pins>;
    firmware-name = "serenity/pru0-mil1553.out";
};

&icssg0_pru1 {
    status = "okay";
    pinctrl-names = "default";
    pinctrl-0 = <&cape_b_pru1_cargo_pins>;
    firmware-name = "serenity/pru1-cargo-servo.out";
};
